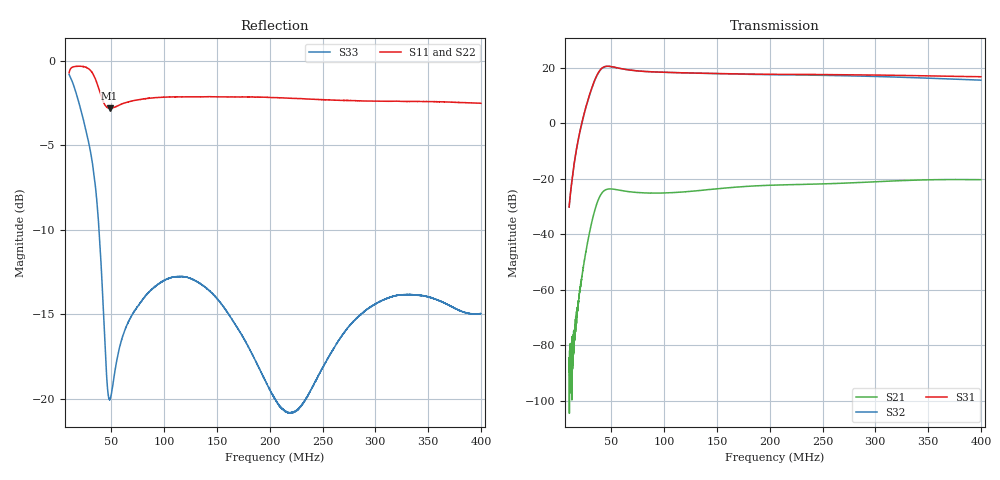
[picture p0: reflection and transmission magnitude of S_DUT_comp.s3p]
! AWR Design Environment (8316) Thu Jul 13 17:04:26 2017
! Document = 'EDA_LNA_comp'
! nPorts: 3, nXvals: 7801
# HZ S RI R 50
!Freq ReS11 ImS11 ReS12 ImS12 ReS13 ImS13
!	ReS21 ImS21 ReS22 ImS22 ReS23 ImS23
!	ReS31 ImS31 ReS32 ImS32 ReS33 ImS33
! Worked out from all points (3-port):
!   7801 points, 10 MHz to 400 MHz, reference 50 ohm
!   strongest paths, dB at 10 MHz, 107.5 MHz, 205 MHz, 302.5 MHz, 400 MHz:
!     S31: -30.2, 18.3, 17.7, 17.4, 16.8
!     S32: -30.1, 18.3, 17.5, 16.9, 15.6
!     S21: -89.6, -25.0, -22.2, -21.0, -20.3
!   lowest |S11| = -2.8 dB at 48.3 MHz (marker M1), VSWR 6.22, Z = 32.4 + j82.4 ohm
!   |S11| at or under -10 dB: nowhere
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1e7  -0.9201 -0.0329  1e-05 3.7e-05  -6.19e-05 -7.87e-05
     3.3e-05 2.88e-06  -0.9191 -0.0494  -1.12e-05 -0.000106
     0.0303 0.00671  -0.0306 -0.00674  -0.544 0.7299
3.765e7  0.3122 0.7742  -0.027 0.0361  0.00293 0.000394
         -0.0234 0.0351  0.3015 0.7848  -0.0029 -0.000223
         -7.143 3.994  7.216 -3.601  0.2806 -0.1912
4.83e7  0.3933 0.6067  0.0609 0.0338  0.00134 -0.00378
        0.0595 0.0285  0.3955 0.6185  -0.00129 0.00382
        3.737 9.988  -3.143 -10.13  0.0739 -0.0668
6.575e7  0.5652 0.5002  0.0455 -0.0432  -0.0026 -0.00262
         0.0402 -0.0435  0.5718 0.5058  0.00271 0.00287
         9.229 -0.00894  -9.207 -0.603  0.0577 -0.1576
1.034e8  0.7603 0.1774  -0.00953 -0.06  -0.0036 0.00194
         -0.0123 -0.0547  0.7703 0.1755  0.004 -0.00168
         0.945 -8.231  -1.689 8.11  -0.2213 -0.0493
1.528e8  0.7669 -0.1503  -0.0515 -0.0527  0.000963 0.00498
         -0.0492 -0.0455  0.7748 -0.1623  -0.000208 -0.00535
         -7.633 -1.929  7.298 2.836  -0.0265 0.1915
2.05e8  0.6688 -0.3969  -0.083 -0.0208  0.00619 0.000931
        -0.0757 -0.0155  0.6712 -0.415  -0.00608 -0.00227
        -3.532 6.784  4.464 -6.045  0.0956 -0.0289
2.909e8  0.4223 -0.6316  -0.0896 0.0392  -0.0022 -0.0081
         -0.0787 0.0371  0.4061 -0.6522  -0.000168 0.00811
         7.45 -0.387  -6.981 -1.073  -0.1439 0.1128
3.4605e8  0.2506 -0.7144  -0.0723 0.0798  -0.0095 -0.000386
          -0.0629 0.0722  0.2263 -0.7257  0.00813 0.00331
          1.441 -7.047  -2.764 5.947  0.1344 0.1505
4e8  0.0779 -0.744  -0.0353 0.1031  -0.00416 0.00971
     -0.0295 0.0922  0.0511 -0.7456  0.00632 -0.00645
     -6.037 -3.379  4.289 4.205  0.07 -0.1644
